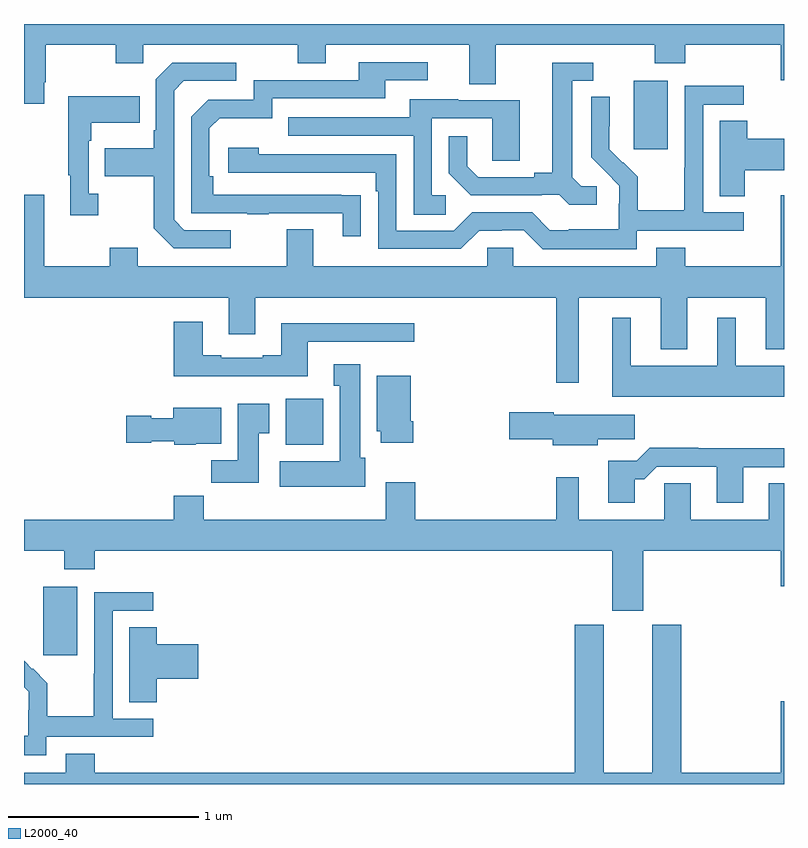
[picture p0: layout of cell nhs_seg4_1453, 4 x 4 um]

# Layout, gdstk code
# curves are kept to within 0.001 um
import gdstk
lib = gdstk.Library(unit=1e-6, precision=1e-09)
def R(c, l, rs):  # rectangles x0, y0, x1, y1
    for r in rs: c.add(gdstk.rectangle(r[:2], r[2:], *l))
def P(c, l, *ps):  # polygons
    for p in ps: c.add(gdstk.Polygon(p, *l))
L2000_40 = (2000, 40)

nhs_seg4_1453 = lib.new_cell('nhs_seg4_1453')
R(nhs_seg4_1453, L2000_40, [(185.102,821.577,185.281,821.938), (186.377,822.686,186.574,822.928), (188.21,824.241,188.389,824.602)])
P(nhs_seg4_1453, L2000_40, [(185.107,824.593),(185.115,824.593),(185.115,824.792),(185.482,824.792),(185.482,824.693),(185.628,824.693),(185.628,824.792),(186.442,824.792),(186.442,824.693),(186.589,824.693),(186.589,824.792),(187.343,824.792),(187.343,824.584),(187.483,824.584),(187.483,824.792),(188.32,824.792),(188.32,824.693),(188.48,824.693),(188.48,824.792),(188.984,824.792),(188.984,824.604),(189,824.604),(189,824.9),(185,824.9),(185,824.481),(185.107,824.481)],
  [(186.773,824),(185.996,824.001),(185.996,824.098),(185.976,824.098),(185.976,824.352),(186.029,824.405),(186.306,824.405),(186.306,824.508),(186.901,824.508),(186.901,824.604),(187.126,824.604),(187.126,824.7),(186.761,824.7),(186.761,824.604),(186.21,824.604),(186.21,824.502),(185.97,824.502),(185.88,824.412),(185.88,823.905),(186.175,823.905),(186.175,823.9),(186.287,823.9),(186.287,823.905),(186.677,823.905),(186.677,823.782),(186.773,823.782)],
  [(188.014,824.046),(187.932,824.046),(187.885,824.093),(187.885,824.601),(187.996,824.601),(187.996,824.697),(187.781,824.697),(187.781,824.117),(187.685,824.117),(187.685,824.094),(187.39,824.094),(187.333,824.151),(187.333,824.308),(187.236,824.308),(187.236,824.114),(187.352,823.998),(187.724,823.998),(187.724,824.001),(187.818,824.001),(187.87,823.949),(188.014,823.949)],
  [(186.088,823.815),(185.844,823.815),(185.79,823.869),(185.79,824.55),(185.841,824.601),(186.118,824.601),(186.118,824.697),(185.781,824.697),(185.694,824.61),(185.694,824.341),(185.682,824.341),(185.682,824.245),(185.425,824.245),(185.425,824.098),(185.682,824.098),(185.682,823.825),(185.787,823.719),(186.088,823.719)],
  [(188.226,823.812),(188.788,823.812),(188.788,823.908),(188.574,823.908),(188.574,824.475),(188.788,824.475),(188.788,824.574),(188.478,824.574),(188.478,824.144),(188.476,824.144),(188.476,823.921),(188.231,823.921),(188.231,824.095),(188.154,824.172),(188.151,824.169),(188.081,824.24),(188.082,824.516),(187.986,824.516),(187.986,824.198),(188.132,824.05),(188.132,823.953),(188.13,823.953),(188.13,823.819),(187.867,823.819),(187.867,823.815),(187.767,823.815),(187.674,823.908),(187.359,823.908),(187.263,823.812),(186.96,823.812),(186.96,824.214),(186.236,824.214),(186.236,824.248),(186.075,824.248),(186.075,824.118),(186.851,824.118),(186.851,824.021),(186.864,824.021),(186.864,823.716),(187.299,823.716),(187.395,823.812),(187.514,823.812),(187.514,823.815),(187.629,823.815),(187.729,823.715),(188.226,823.715)],
  [(185.392,824.006),(185.34,824.006),(185.34,824.285),(185.353,824.285),(185.353,824.381),(185.609,824.381),(185.609,824.521),(185.232,824.521),(185.232,824.105),(185.243,824.105),(185.243,823.893),(185.392,823.893)],
  [(187.219,823.998),(187.146,823.998),(187.146,824.403),(187.464,824.403),(187.464,824.179),(187.609,824.179),(187.609,824.499),(187.285,824.499),(187.285,824.503),(187.031,824.503),(187.031,824.409),(186.391,824.409),(186.391,824.313),(187.05,824.313),(187.05,823.897),(187.219,823.897)],
  [(188.794,824.129),(189,824.129),(189,824.295),(188.807,824.295),(188.807,824.39),(188.663,824.39),(188.663,823.993),(188.794,823.993)],
  [(187.921,823.46),(188.351,823.46),(188.351,823.187),(188.491,823.187),(188.491,823.46),(188.903,823.46),(188.903,823.187),(189,823.187),(189,823.999),(188.984,823.999),(188.984,823.624),(188.48,823.624),(188.48,823.723),(188.327,823.723),(188.327,823.624),(187.575,823.624),(187.575,823.722),(187.437,823.722),(187.437,823.624),(186.523,823.624),(186.523,823.819),(186.383,823.819),(186.383,823.624),(185.599,823.624),(185.599,823.723),(185.452,823.723),(185.452,823.624),(185.107,823.624),(185.107,824.002),(185,824.002),(185,823.46),(186.077,823.46),(186.077,823.266),(186.217,823.266),(186.217,823.46),(187.8,823.46),(187.8,823.011),(187.921,823.011)],
  [(189,823.102),(188.746,823.102),(188.746,823.354),(188.648,823.354),(188.648,823.102),(188.194,823.102),(188.194,823.354),(188.096,823.354),(188.096,822.938),(189,822.938)],
  [(186.493,823.227),(187.054,823.227),(187.054,823.324),(186.353,823.324),(186.353,823.156),(186.257,823.156),(186.257,823.143),(186.037,823.143),(186.037,823.156),(185.941,823.156),(185.941,823.333),(185.789,823.333),(185.789,823.046),(186.493,823.046)],
  [(186.796,822.618),(186.769,822.618),(186.769,823.108),(186.629,823.108),(186.629,822.995),(186.662,822.995),(186.662,822.598),(186.345,822.598),(186.345,822.464),(186.796,822.464)],
  [(187.049,822.808),(187.036,822.808),(187.036,823.048),(186.857,823.048),(186.857,822.756),(186.878,822.756),(186.878,822.696),(187.049,822.696)],
  [(186.235,822.745),(186.292,822.745),(186.292,822.901),(186.125,822.901),(186.125,822.604),(185.986,822.604),(185.986,822.486),(186.235,822.486)],
  [(185.904,822.692),(186.037,822.692),(186.037,822.88),(185.786,822.88),(185.786,822.826),(185.67,822.826),(185.67,822.839),(185.538,822.839),(185.538,822.697),(185.67,822.697),(185.67,822.704),(185.79,822.704),(185.79,822.686),(185.904,822.686)],
  [(188.02,822.715),(188.215,822.715),(188.215,822.844),(187.788,822.844),(187.788,822.857),(187.554,822.857),(187.554,822.715),(187.784,822.715),(187.784,822.683),(188.02,822.683)],
  [(188.215,822.503),(188.264,822.503),(188.331,822.57),(188.645,822.57),(188.645,822.381),(188.785,822.381),(188.785,822.567),(189,822.567),(189,822.668),(188.549,822.668),(188.549,822.671),(188.294,822.671),(188.224,822.601),(188.075,822.601),(188.075,822.381),(188.215,822.381)],
  [(188.26,822.128),(188.984,822.128),(188.984,821.94),(189,821.94),(189,822.482),(188.921,822.482),(188.921,822.292),(188.509,822.292),(188.509,822.482),(188.37,822.482),(188.37,822.292),(187.921,822.292),(187.921,822.514),(187.8,822.514),(187.8,822.292),(187.058,822.292),(187.058,822.487),(186.905,822.487),(186.905,822.292),(185.945,822.292),(185.945,822.416),(185.789,822.416),(185.789,822.292),(185,822.292),(185,822.128),(185.212,822.128),(185.212,822.029),(185.372,822.029),(185.372,822.128),(188.096,822.128),(188.096,821.811),(188.26,821.811)],
  [(185.118,821.148),(185.68,821.148),(185.68,821.244),(185.466,821.244),(185.466,821.811),(185.68,821.811),(185.68,821.91),(185.37,821.91),(185.37,821.48),(185.368,821.48),(185.368,821.257),(185.123,821.257),(185.123,821.431),(185.046,821.508),(185.043,821.505),(185,821.549),(185,821.41),(185.024,821.386),(185.024,821.289),(185.022,821.289),(185.022,821.155),(185,821.155),(185,821.051),(185.118,821.051)],
  [(189,821.335),(188.984,821.335),(188.984,820.96),(188.459,820.96),(188.459,821.739),(188.306,821.739),(188.306,820.96),(188.05,820.96),(188.05,821.739),(187.898,821.739),(187.898,820.96),(185.372,820.96),(185.372,821.059),(185.219,821.059),(185.219,820.96),(185,820.96),(185,820.9),(189,820.9)],
  [(185.699,821.453),(185.917,821.453),(185.917,821.636),(185.699,821.636),(185.699,821.726),(185.555,821.726),(185.555,821.329),(185.699,821.329)])

lib.write_gds('nhs_seg4_1453.gds')
